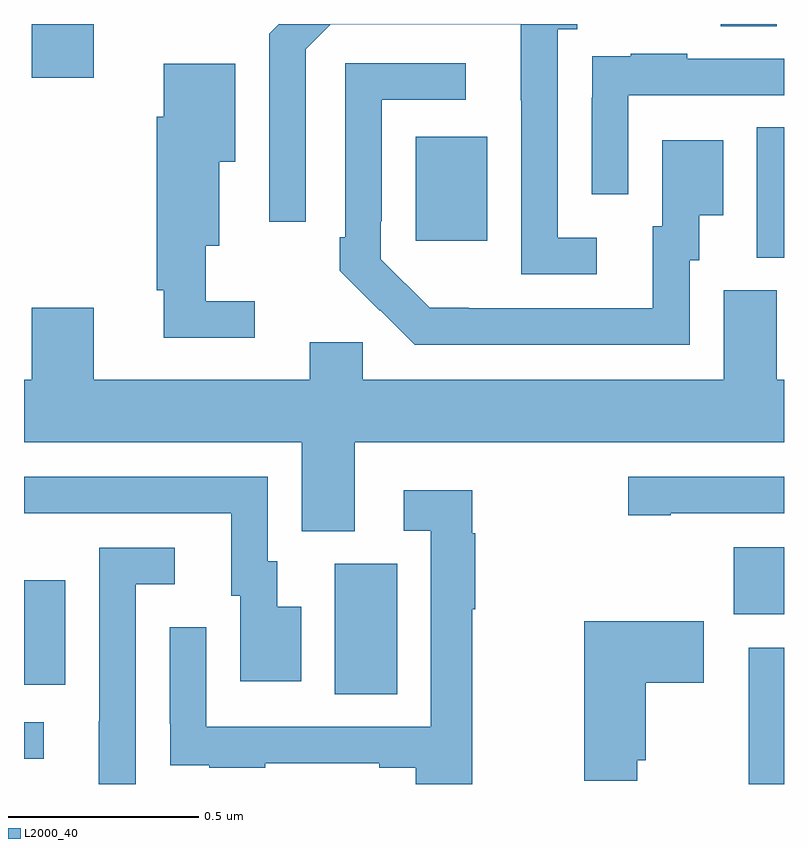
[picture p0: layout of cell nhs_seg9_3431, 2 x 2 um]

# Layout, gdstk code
import gdstk
lib = gdstk.Library(unit=1e-6, precision=1e-09)
def R(c, l, rs):  # rectangles x0, y0, x1, y1
    for r in rs: c.add(gdstk.rectangle(r[:2], r[2:], *l))
def P(c, l, *ps):  # polygons
    for p in ps: c.add(gdstk.Polygon(p, *l))
L2000_40 = (2000, 40)

nhs_seg9_3431 = lib.new_cell('nhs_seg9_3431')
R(nhs_seg9_3431, L2000_40, [(154.907,1215.5,155,1215.859), (153,1215.567,153.052,1215.663), (153.818,1215.736,153.982,1216.08), (153,1215.761,153.109,1216.036), (154.868,1215.947,155,1216.123), (154.928,1216.885,155,1217.228), (154.031,1216.929,154.219,1217.203), (153.02,1217.358,153.184,1217.5), (154.834,1217.494,154.981,1217.5)])
P(nhs_seg9_3431, L2000_40, [(154.507,1216.938),(154.404,1216.938),(154.404,1217.486),(154.456,1217.486),(154.456,1217.5),(153.67,1217.5),(153.645,1217.475),(153.645,1216.98),(153.741,1216.98),(153.741,1217.433),(153.807,1217.499),(154.307,1217.499),(154.307,1217.299),(154.308,1217.299),(154.308,1216.842),(154.507,1216.842)],
  [(154.59,1217.313),(155,1217.313),(155,1217.409),(154.745,1217.409),(154.745,1217.422),(154.597,1217.422),(154.597,1217.415),(154.495,1217.415),(154.495,1217.306),(154.494,1217.306),(154.494,1217.052),(154.59,1217.052)],
  [(154.752,1216.878),(154.777,1216.878),(154.777,1216.997),(154.84,1216.997),(154.84,1217.194),(154.679,1217.194),(154.679,1216.968),(154.655,1216.968),(154.655,1216.752),(154.171,1216.752),(154.171,1216.753),(154.068,1216.753),(153.939,1216.881),(153.939,1216.981),(153.942,1216.981),(153.942,1217.301),(154.162,1217.301),(154.162,1217.397),(153.846,1217.397),(153.846,1216.939),(153.831,1216.939),(153.831,1216.851),(153.936,1216.746),(153.937,1216.747),(154.028,1216.656),(154.752,1216.656)],
  [(153.607,1216.771),(153.478,1216.771),(153.478,1216.916),(153.514,1216.916),(153.514,1217.138),(153.556,1217.138),(153.556,1217.395),(153.368,1217.395),(153.368,1217.256),(153.349,1217.256),(153.349,1216.799),(153.368,1216.799),(153.368,1216.674),(153.607,1216.674)],
  [(153.871,1216.4),(155,1216.4),(155,1216.564),(154.981,1216.564),(154.981,1216.8),(154.841,1216.8),(154.841,1216.564),(153.891,1216.564),(153.891,1216.662),(153.752,1216.662),(153.752,1216.564),(153.184,1216.564),(153.184,1216.753),(153.02,1216.753),(153.02,1216.564),(153,1216.564),(153,1216.4),(153.731,1216.4),(153.731,1216.165),(153.871,1216.165)],
  [(154.702,1216.212),(155,1216.212),(155,1216.308),(154.59,1216.308),(154.59,1216.207),(154.702,1216.207)],
  [(153.73,1215.967),(153.667,1215.967),(153.667,1216.086),(153.642,1216.086),(153.642,1216.308),(153,1216.308),(153,1216.212),(153.545,1216.212),(153.545,1215.996),(153.569,1215.996),(153.569,1215.771),(153.73,1215.771)],
  [(154.18,1215.96),(154.187,1215.96),(154.187,1216.16),(154.18,1216.16),(154.18,1216.273),(153.999,1216.273),(153.999,1216.167),(154.071,1216.167),(154.071,1215.651),(153.48,1215.651),(153.48,1215.913),(153.384,1215.913),(153.384,1215.658),(153.385,1215.658),(153.385,1215.549),(153.487,1215.549),(153.487,1215.543),(153.635,1215.543),(153.635,1215.555),(153.935,1215.555),(153.935,1215.543),(154.031,1215.543),(154.031,1215.5),(154.18,1215.5)],
  [(153.294,1216.026),(153.397,1216.026),(153.397,1216.122),(153.198,1216.122),(153.198,1215.665),(153.197,1215.665),(153.197,1215.5),(153.294,1215.5)],
  [(154.614,1215.563),(154.636,1215.563),(154.636,1215.766),(154.789,1215.766),(154.789,1215.928),(154.474,1215.928),(154.474,1215.509),(154.614,1215.509)])

lib.write_gds('nhs_seg9_3431.gds')
